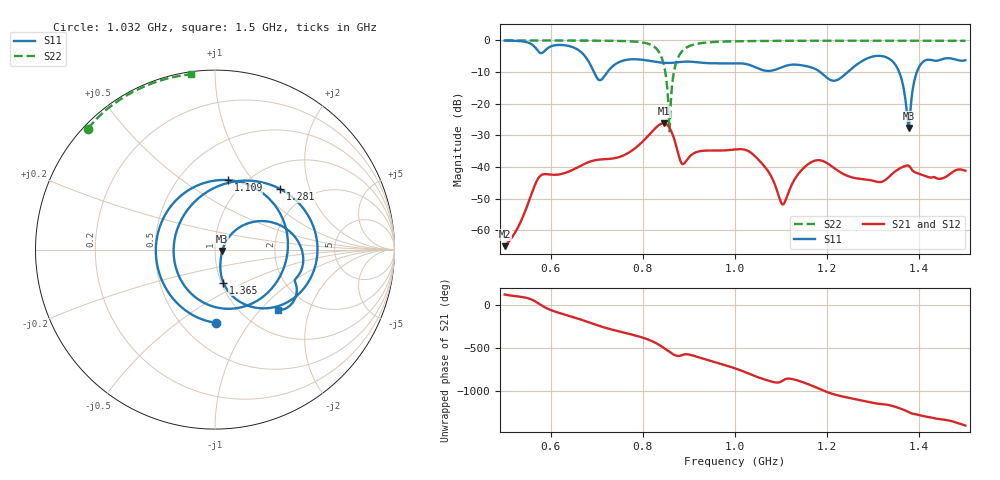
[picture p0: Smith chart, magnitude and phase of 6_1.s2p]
! TOUCHSTONE file generated by CST MICROWAVE STUDIO
! Date and time: Sat Nov 14 20:32:59 2020
! Project name: Scenario_1_Planar_Body_Tissue_Out_of_Line_v2.cst
! Parameters = {dy1=259.5; L_HA=400; Ltissue=700; MT=2.54; Rad_Dielectric=30; Rad_Lower=7.3; Rad_Upper=30; Wtissue=700; a_HA=580; a_WG=246; b_HA=500; b_WG=121; c_HA=0; c_WG=187; d_feed=85; dx1=173; h_feed=15; h_lower=18; h_upper=40; hfat=3; hgap=25; hmuscle=50; hskin=1.5}
! Header version: 2018
! Port assignment regex: !\s*Touchstone port\s*([0-9]+)\s*=\s*(CST MWS port|CST DS port)\s*([0-9]+|Zmin|Zmax)\s*\(\"(.*)\"\)(\s*mode\s*([0-9]+))?.*
! Touchstone port assignment:
! Touchstone port 1 = CST MWS port 1 ("")
! Touchstone port 2 = CST MWS port 2 ("")
# GHz S DB R 50
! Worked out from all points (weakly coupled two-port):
!   1003 points, 500 MHz to 1.5 GHz, reference 50 ohm
!   highest |S21| = -26.19 dB at 845 MHz (marker M1); lowest = -65.1 dB at 500 MHz (marker M2)
!   lowest |S11| = -27.7 dB at 1.377 GHz (marker M3), VSWR 1.09, Z = 54.2 - j0.774 ohm
!   |S11| at or under -10 dB: 693.8 MHz to 723 MHz (29.27 MHz wide, 4.13 % of centre); 1.185 GHz to 1.245 GHz (59.76 MHz wide, 4.92 % of centre); 1.356 GHz to 1.395 GHz (38.31 MHz wide, 2.79 % of centre)
!   |S22| runs from -28.7 to 0.0 dB; largest |S21 - S12| = 2.3e-06
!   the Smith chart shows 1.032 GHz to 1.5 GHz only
!   S11 on the Smith chart (normalised r, x): 1.032 GHz: 0.72, -0.71; 1.109 GHz: 0.84, +0.77; 1.281 GHz: 1.45, +1.30; 1.365 GHz: 1.02, -0.39; 1.5 GHz: 1.42, -1.26
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0.5  -0.06 -121.8  -65.05 119.3  -65.05 119.3  -0.01 151.2
0.624  -1.44 176.1  -42.20 -102.3  -42.20 -102.3  -0.03 142.2
0.667  -3.81 111.6  -39.49 -173.0  -39.49 -173.0  -0.04 138.4
0.694  -10.07 31.7  -37.94 137.3  -37.94 137.3  -0.06 135.6
0.721  -10.40 -102.6  -37.54 91.1  -37.54 91.1  -0.09 132.2
0.765  -6.13 159.4  -35.86 32.0  -35.86 32.0  -0.23 124.3
0.834  -6.91 21.1  -26.87 -98.8  -26.87 -98.8  -3.45 83.3
0.845  -7.08 -6.7  -26.19 -136.4  -26.19 -136.4  -7.40 63.8
0.858  -7.11 -41.7  -27.69 174.6  -27.69 174.6  -28.72 -58.0
0.905  -6.73 -179.3  -36.26 139.1  -36.26 139.1  -1.56 165.3
0.944  -7.20 83.7  -34.82 76.5  -34.82 76.5  -0.59 150.4
1  -7.22 -23.8  -34.49 -14.0  -34.49 -14.0  -0.27 140.1
1.032  -7.78 -89.0  -35.25 -81.2  -35.25 -81.2  -0.21 136.3
1.109  -8.10 79.5  -50.80 -139.6  -50.80 -139.6  -0.12 129.0
1.167  -8.60 -48.1  -38.39 145.0  -38.39 145.0  -0.10 124.2
1.215  -12.75 175.2  -40.33 44.7  -40.33 44.7  -0.09 120.6
1.281  -6.10 43.1  -43.91 -32.7  -43.91 -32.7  -0.09 115.6
1.334  -5.74 -31.3  -43.16 -79.5  -43.16 -79.5  -0.08 111.6
1.365  -14.42 -75.7  -39.94 -131.8  -39.94 -131.8  -0.09 109.2
1.377  -27.68 -9.9  -39.62 -161.0  -39.62 -161.0  -0.09 108.2
1.407  -6.90 8.8  -42.55 155.9  -42.55 155.9  -0.09 105.8
1.5  -6.26 -44.0  -41.22 44.9  -41.22 44.9  -0.13 97.9
